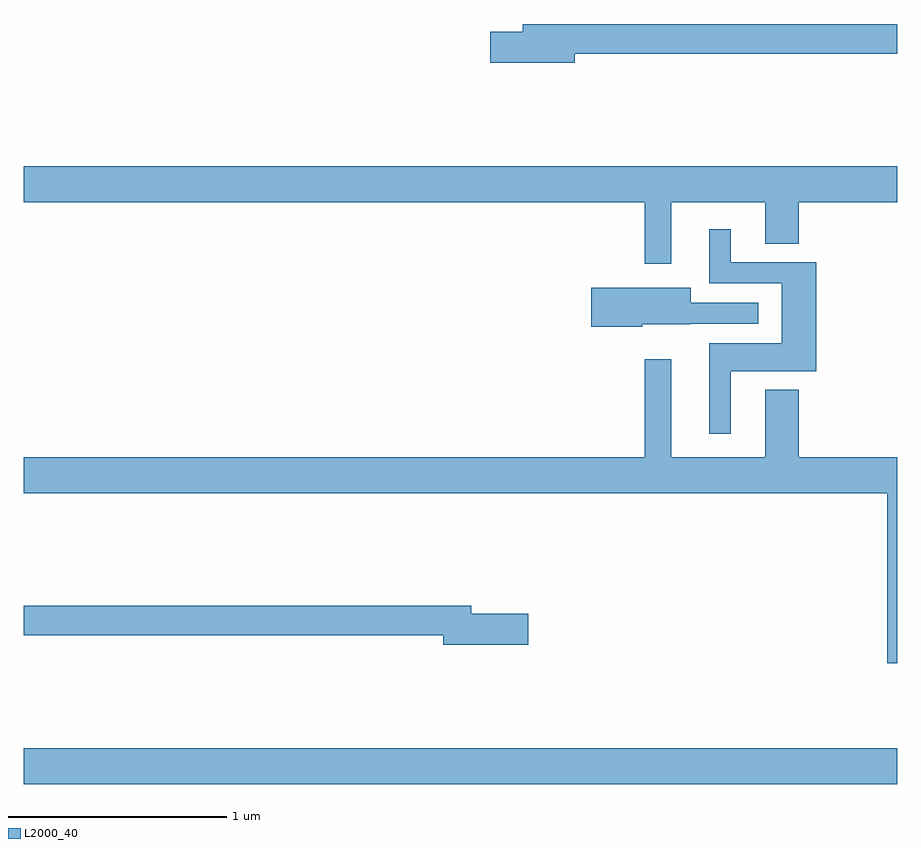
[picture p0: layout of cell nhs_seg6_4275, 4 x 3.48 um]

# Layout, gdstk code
import gdstk
lib = gdstk.Library(unit=1e-6, precision=1e-09)
def R(c, l, rs):  # rectangles x0, y0, x1, y1
    for r in rs: c.add(gdstk.rectangle(r[:2], r[2:], *l))
def P(c, l, *ps):  # polygons
    for p in ps: c.add(gdstk.Polygon(p, *l))
L2000_40 = (2000, 40)

nhs_seg6_4275 = lib.new_cell('nhs_seg6_4275')
R(nhs_seg6_4275, L2000_40, [(363,950,367,950.164)])
P(nhs_seg6_4275, L2000_40, [(365.524,953.344),(367,953.344),(367,953.48),(365.285,953.48),(365.285,953.444),(365.136,953.444),(365.136,953.302),(365.524,953.302)],
  [(365.965,952.664),(366.395,952.664),(366.395,952.474),(366.548,952.474),(366.548,952.664),(367,952.664),(367,952.828),(363,952.828),(363,952.664),(365.844,952.664),(365.844,952.383),(365.965,952.383)],
  [(366.238,951.89),(366.629,951.89),(366.629,952.389),(366.238,952.389),(366.238,952.54),(366.14,952.54),(366.14,952.293),(366.47,952.293),(366.47,952.018),(366.14,952.018),(366.14,951.603),(366.238,951.603)],
  [(365.832,952.106),(366.051,952.106),(366.051,952.107),(366.364,952.107),(366.364,952.203),(366.055,952.203),(366.055,952.272),(365.598,952.272),(365.598,952.094),(365.832,952.094)],
  [(367,951.496),(366.548,951.496),(366.548,951.805),(366.395,951.805),(366.395,951.496),(365.965,951.496),(365.965,951.946),(365.844,951.946),(365.844,951.496),(363,951.496),(363,951.332),(366.953,951.332),(366.953,950.553),(367,950.553)],
  [(365.311,950.78),(365.05,950.78),(365.05,950.816),(363,950.816),(363,950.68),(364.922,950.68),(364.922,950.638),(365.311,950.638)])

lib.write_gds('nhs_seg6_4275.gds')
